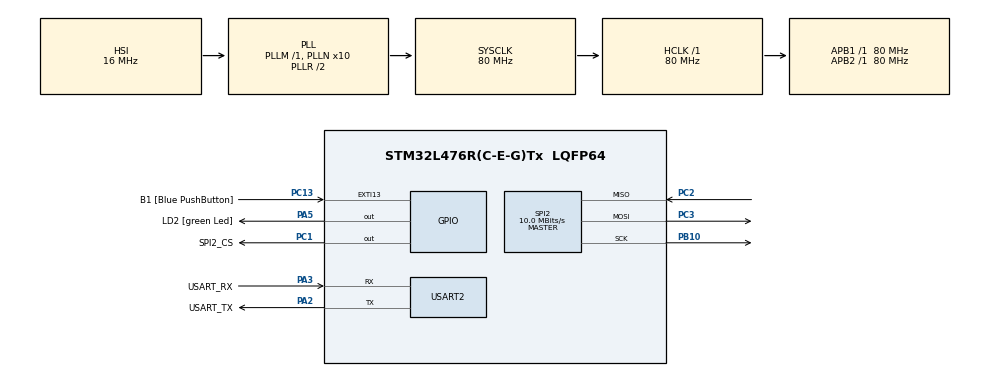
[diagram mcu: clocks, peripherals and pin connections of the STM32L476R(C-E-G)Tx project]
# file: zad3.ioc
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Mcu.Family=STM32L4
Mcu.Name=STM32L476R(C-E-G)Tx
Mcu.Package=LQFP64
NVIC.PriorityGroup=NVIC_PRIORITYGROUP_4
PA13\ (JTMS-SWDIO).GPIO_Label=TMS
PA13\ (JTMS-SWDIO).Mode=Serial_Wire
PA13\ (JTMS-SWDIO).Signal=SYS_JTMS-SWDIO
PA14\ (JTCK-SWCLK).GPIO_Label=TCK
PA14\ (JTCK-SWCLK).Mode=Serial_Wire
PA14\ (JTCK-SWCLK).Signal=SYS_JTCK-SWCLK
PA2.GPIO_Label=USART_TX
PA2.GPIO_Mode=GPIO_MODE_AF_PP
PA2.GPIO_PuPd=GPIO_NOPULL
PA2.GPIO_Speed=GPIO_SPEED_FREQ_VERY_HIGH
PA2.Mode=Asynchronous
PA2.Signal=USART2_TX
PA3.GPIO_Label=USART_RX
PA3.GPIO_Mode=GPIO_MODE_AF_PP
PA3.GPIO_PuPd=GPIO_NOPULL
PA3.GPIO_Speed=GPIO_SPEED_FREQ_VERY_HIGH
PA3.Mode=Asynchronous
PA3.Signal=USART2_RX
PA5.GPIO_Label=LD2 [green Led]
PA5.GPIO_ModeDefaultOutputPP=GPIO_MODE_OUTPUT_PP
PA5.GPIO_PuPd=GPIO_NOPULL
PA5.GPIO_Speed=GPIO_SPEED_FREQ_LOW
PA5.Signal=GPIO_Output
PB10.Mode=Full_Duplex_Master
PB10.Signal=SPI2_SCK
PB3\ (JTDO-TRACESWO).GPIO_Label=SWO
PB3\ (JTDO-TRACESWO).Signal=SYS_JTDO-SWO
PC1.GPIO_Label=SPI2_CS
PC1.Signal=GPIO_Output
PC13.GPIO_Label=B1 [Blue PushButton]
PC13.GPIO_ModeDefaultEXTI=GPIO_MODE_IT_FALLING
PC13.GPIO_PuPd=GPIO_NOPULL
PC13.Signal=GPXTI13
PC14-OSC32_IN\ (PC14).Mode=LSE-External-Oscillator
PC14-OSC32_IN\ (PC14).Signal=RCC_OSC32_IN
PC15-OSC32_OUT\ (PC15).Mode=LSE-External-Oscillator
PC15-OSC32_OUT\ (PC15).Signal=RCC_OSC32_OUT
PC2.Mode=Full_Duplex_Master
PC2.Signal=SPI2_MISO
PC3.Mode=Full_Duplex_Master
PC3.Signal=SPI2_MOSI
PH0-OSC_IN\ (PH0).Signal=RCC_OSC_IN
PH1-OSC_OUT\ (PH1).Signal=RCC_OSC_OUT
ProjectManager.HeapSize=0x200
ProjectManager.StackSize=0x400
ProjectManager.TargetToolchain=STM32CubeIDE
RCC.ADCFreq_Value=64000000
RCC.AHBFreq_Value=80000000
RCC.APB1Freq_Value=80000000
RCC.APB1TimFreq_Value=80000000
RCC.APB2Freq_Value=80000000
RCC.APB2TimFreq_Value=80000000
RCC.CortexFreq_Value=80000000
RCC.HCLKFreq_Value=80000000
RCC.HSE_VALUE=8000000
RCC.HSI_VALUE=16000000
RCC.MSI_VALUE=4000000
RCC.PLLN=10
RCC.PLLSourceVirtual=RCC_PLLSOURCE_HSI
RCC.PREFETCH_ENABLE=1
RCC.SYSCLKFreq_VALUE=80000000
RCC.SYSCLKSource=RCC_SYSCLKSOURCE_PLLCLK
RCC.USBFreq_Value=64000000
RCC.VCOOutputFreq_Value=160000000
SPI2.BaudRatePrescaler=SPI_BAUDRATEPRESCALER_8
SPI2.CalculateBaudRate=10.0 MBits/s
SPI2.DataSize=SPI_DATASIZE_8BIT
SPI2.Direction=SPI_DIRECTION_2LINES
SPI2.Mode=SPI_MODE_MASTER
SPI2.VirtualType=VM_MASTER
USART2.VirtualMode-Asynchronous=VM_ASYNC
board=NUCLEO-L476RG

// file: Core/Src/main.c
/* USER CODE BEGIN Header */
/**
  ******************************************************************************
  * @file           : main.c
  * @brief          : Main program body
  ******************************************************************************
  * @attention
  *
  * Copyright (c) 2025 STMicroelectronics.
  * All rights reserved.
  *
  * This software is licensed under terms that can be found in the LICENSE file
  * in the root directory of this software component.
  * If no LICENSE file comes with this software, it is provided AS-IS.
  *
  ******************************************************************************
  */
/* USER CODE END Header */
#include "main.h"
#include "spi.h"
#include "usart.h"
#include "gpio.h"

/* USER CODE BEGIN Includes */
#include "BMP280.h"
#include <stdio.h>
/* USER CODE END Includes */

void SystemClock_Config(void);

/* USER CODE BEGIN 0 */
int __io_putchar(int ch)
{
    uint8_t c = (uint8_t)ch;

    if(c == '\n')
    {
        uint8_t cr = '\r';
        HAL_UART_Transmit(&huart2, &cr, 1, HAL_MAX_DELAY);
    }

    HAL_UART_Transmit(&huart2, &c, 1, HAL_MAX_DELAY);
    return 1;
}

/* USER CODE END 0 */

int main(void)
{

  /* MCU Configuration--------------------------------------------------------*/

  /* Reset of all peripherals, Initializes the Flash interface and the Systick. */
  HAL_Init();

  /* Configure the system clock */
  SystemClock_Config();

  /* Initialize all configured peripherals */
  MX_GPIO_Init();
  MX_SPI2_Init();
  MX_USART2_UART_Init();
  /* USER CODE BEGIN 2 */
  BMP280 bmp;

  BMP280_init(&bmp, &hspi2, SPI2_CS_GPIO_Port, SPI2_CS_Pin);
  BMP280_readCalibration(&bmp);
  BMP280_fast_temp_continous_measurment(&bmp);

  float tempC = 0;
  /* USER CODE END 2 */

  /* Infinite loop */
  /* USER CODE BEGIN WHILE */
  while (1)
  {
	  tempC = BMP280_read_temperature(&bmp);
	  printf("temp: %.1f \n", tempC);
	  HAL_Delay(1000);
    /* USER CODE END WHILE */

  }
}

void SystemClock_Config(void)
{
  RCC_OscInitTypeDef RCC_OscInitStruct = {0};
  RCC_ClkInitTypeDef RCC_ClkInitStruct = {0};

  /** Configure the main internal regulator output voltage
  */
  if (HAL_PWREx_ControlVoltageScaling(PWR_REGULATOR_VOLTAGE_SCALE1) != HAL_OK)
  {
    Error_Handler();
  }

  /** Initializes the RCC Oscillators according to the specified parameters
  * in the RCC_OscInitTypeDef structure.
  */
  RCC_OscInitStruct.OscillatorType = RCC_OSCILLATORTYPE_HSI;
  RCC_OscInitStruct.HSIState = RCC_HSI_ON;
  RCC_OscInitStruct.HSICalibrationValue = RCC_HSICALIBRATION_DEFAULT;
  RCC_OscInitStruct.PLL.PLLState = RCC_PLL_ON;
  RCC_OscInitStruct.PLL.PLLSource = RCC_PLLSOURCE_HSI;
  RCC_OscInitStruct.PLL.PLLM = 1;
  RCC_OscInitStruct.PLL.PLLN = 10;
  RCC_OscInitStruct.PLL.PLLP = RCC_PLLP_DIV7;
  RCC_OscInitStruct.PLL.PLLQ = RCC_PLLQ_DIV2;
  RCC_OscInitStruct.PLL.PLLR = RCC_PLLR_DIV2;
  if (HAL_RCC_OscConfig(&RCC_OscInitStruct) != HAL_OK)
  {
    Error_Handler();
  }

  /** Initializes the CPU, AHB and APB buses clocks
  */
  RCC_ClkInitStruct.ClockType = RCC_CLOCKTYPE_HCLK|RCC_CLOCKTYPE_SYSCLK
                              |RCC_CLOCKTYPE_PCLK1|RCC_CLOCKTYPE_PCLK2;
  RCC_ClkInitStruct.SYSCLKSource = RCC_SYSCLKSOURCE_PLLCLK;
  RCC_ClkInitStruct.AHBCLKDivider = RCC_SYSCLK_DIV1;
  RCC_ClkInitStruct.APB1CLKDivider = RCC_HCLK_DIV1;
  RCC_ClkInitStruct.APB2CLKDivider = RCC_HCLK_DIV1;

  if (HAL_RCC_ClockConfig(&RCC_ClkInitStruct, FLASH_LATENCY_4) != HAL_OK)
  {
    Error_Handler();
  }
}

void Error_Handler(void)
{
  __disable_irq();
  while (1)
  {
  }
}
